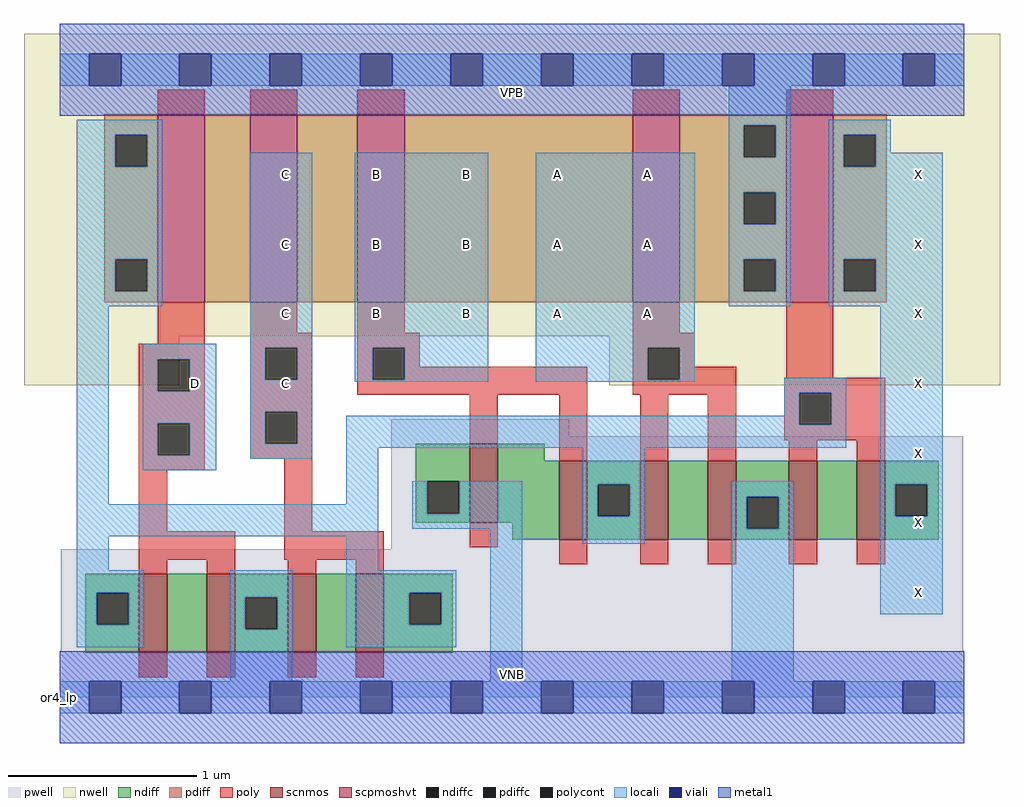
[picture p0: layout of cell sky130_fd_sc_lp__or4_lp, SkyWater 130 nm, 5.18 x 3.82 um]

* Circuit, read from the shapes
.subckt sky130_fd_sc_lp__or4_lp A B C D VGND VNB VPB VPWR X
XM1 n1 D n2 VNB sky130_fd_pr__nfet_01v8 w=0.42 l=0.15
XM2 VGND D n1 VNB sky130_fd_pr__nfet_01v8 w=0.42 l=0.15
XM3 n3 C VGND VNB sky130_fd_pr__nfet_01v8 w=0.42 l=0.15
XM4 n2 C n3 VNB sky130_fd_pr__nfet_01v8 w=0.42 l=0.15
XM5 n4 B VGND VNB sky130_fd_pr__nfet_01v8 w=0.42 l=0.15
XM6 n2 B n4 VNB sky130_fd_pr__nfet_01v8 w=0.42 l=0.15
XM7 n5 A n2 VNB sky130_fd_pr__nfet_01v8 w=0.42 l=0.15
XM8 VGND A n5 VNB sky130_fd_pr__nfet_01v8 w=0.42 l=0.15
XM9 n6 n2 VGND VNB sky130_fd_pr__nfet_01v8 w=0.42 l=0.15
XM10 X n2 n6 VNB sky130_fd_pr__nfet_01v8 w=0.42 l=0.15
XM11 n7 D n2 VPB sky130_fd_pr__pfet_01v8_hvt w=1 l=0.25
XM12 n8 C n7 VPB sky130_fd_pr__pfet_01v8_hvt w=1 l=0.25
XM13 n9 B n8 VPB sky130_fd_pr__pfet_01v8_hvt w=1 l=0.25
XM14 VPWR A n9 VPB sky130_fd_pr__pfet_01v8_hvt w=1 l=0.25
XM15 X n2 VPWR VPB sky130_fd_pr__pfet_01v8_hvt w=1 l=0.25
.ends

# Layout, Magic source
magic
tech sky130A
magscale 1 2
<< nwell >>
rect -38 383 998 704
rect -38 331 127 383
rect 583 331 998 383
<< pwell >>
rect 352 277 541 295
rect 352 157 959 277
rect 1 49 959 157
rect 0 0 960 49
<< scnmos >>
rect 435 185 465 269
rect 530 167 560 251
rect 616 167 646 251
rect 688 167 718 251
rect 774 167 804 251
rect 846 167 876 251
rect 84 47 114 131
rect 156 47 186 131
rect 242 47 272 131
rect 314 47 344 131
<< scpmoshvt >>
rect 104 419 154 619
rect 202 419 252 619
rect 316 419 366 619
rect 608 419 658 619
rect 771 419 821 619
<< ndiff >>
rect 378 229 435 269
rect 378 195 390 229
rect 424 195 435 229
rect 378 185 435 195
rect 465 251 515 269
rect 465 185 530 251
rect 480 167 530 185
rect 560 226 616 251
rect 560 192 571 226
rect 605 192 616 226
rect 560 167 616 192
rect 646 167 688 251
rect 718 213 774 251
rect 718 179 729 213
rect 763 179 774 213
rect 718 167 774 179
rect 804 167 846 251
rect 876 226 933 251
rect 876 192 887 226
rect 921 192 933 226
rect 876 167 933 192
rect 27 111 84 131
rect 27 77 39 111
rect 73 77 84 111
rect 27 47 84 77
rect 114 47 156 131
rect 186 106 242 131
rect 186 72 197 106
rect 231 72 242 106
rect 186 47 242 72
rect 272 47 314 131
rect 344 111 417 131
rect 344 77 371 111
rect 405 77 417 111
rect 344 47 417 77
<< pdiff >>
rect 47 597 104 619
rect 47 563 59 597
rect 93 563 104 597
rect 47 465 104 563
rect 47 431 59 465
rect 93 431 104 465
rect 47 419 104 431
rect 154 419 202 619
rect 252 419 316 619
rect 366 419 608 619
rect 658 607 771 619
rect 658 573 726 607
rect 760 573 771 607
rect 658 536 771 573
rect 658 502 726 536
rect 760 502 771 536
rect 658 465 771 502
rect 658 431 726 465
rect 760 431 771 465
rect 658 419 771 431
rect 821 597 878 619
rect 821 563 832 597
rect 866 563 878 597
rect 821 465 878 563
rect 821 431 832 465
rect 866 431 878 465
rect 821 419 878 431
<< ndiffc >>
rect 390 195 424 229
rect 571 192 605 226
rect 729 179 763 213
rect 887 192 921 226
rect 39 77 73 111
rect 197 72 231 106
rect 371 77 405 111
<< pdiffc >>
rect 59 563 93 597
rect 59 431 93 465
rect 726 573 760 607
rect 726 502 760 536
rect 726 431 760 465
rect 832 563 866 597
rect 832 431 866 465
<< poly >>
rect 104 619 154 645
rect 202 619 252 645
rect 316 619 366 645
rect 608 619 658 645
rect 771 619 821 645
rect 104 375 154 419
rect 84 359 154 375
rect 84 325 104 359
rect 138 325 154 359
rect 84 291 154 325
rect 84 257 104 291
rect 138 257 154 291
rect 84 241 154 257
rect 202 387 252 419
rect 316 387 366 419
rect 608 387 658 419
rect 202 371 268 387
rect 202 337 218 371
rect 252 337 268 371
rect 202 303 268 337
rect 316 371 382 387
rect 316 337 332 371
rect 366 351 382 371
rect 608 371 674 387
rect 366 337 560 351
rect 316 321 560 337
rect 608 337 624 371
rect 658 351 674 371
rect 658 337 718 351
rect 771 339 821 419
rect 608 321 718 337
rect 202 269 218 303
rect 252 269 268 303
rect 435 269 465 321
rect 202 253 268 269
rect 84 176 114 241
rect 238 176 268 253
rect 530 251 560 321
rect 616 251 646 321
rect 688 251 718 321
rect 769 323 876 339
rect 769 289 785 323
rect 819 289 876 323
rect 769 273 876 289
rect 774 251 804 273
rect 846 251 876 273
rect 84 146 186 176
rect 238 146 344 176
rect 435 159 465 185
rect 84 131 114 146
rect 156 131 186 146
rect 242 131 272 146
rect 314 131 344 146
rect 530 141 560 167
rect 616 141 646 167
rect 688 141 718 167
rect 774 141 804 167
rect 846 141 876 167
rect 84 21 114 47
rect 156 21 186 47
rect 242 21 272 47
rect 314 21 344 47
<< polycont >>
rect 104 325 138 359
rect 104 257 138 291
rect 218 337 252 371
rect 332 337 366 371
rect 624 337 658 371
rect 218 269 252 303
rect 785 289 819 323
<< locali >>
rect 0 649 31 683
rect 65 649 127 683
rect 161 649 223 683
rect 257 649 319 683
rect 353 649 415 683
rect 449 649 511 683
rect 545 649 607 683
rect 641 649 703 683
rect 737 649 799 683
rect 833 649 895 683
rect 929 649 960 683
rect 18 597 109 613
rect 18 563 59 597
rect 93 563 109 597
rect 710 607 776 649
rect 18 465 109 563
rect 18 431 59 465
rect 93 431 109 465
rect 18 415 109 431
rect 18 205 52 415
rect 88 359 166 375
rect 88 325 104 359
rect 138 325 166 359
rect 88 291 166 325
rect 88 257 104 291
rect 138 257 166 291
rect 88 241 166 257
rect 202 371 268 578
rect 202 337 218 371
rect 252 337 268 371
rect 202 303 268 337
rect 313 371 455 578
rect 313 337 332 371
rect 366 337 455 371
rect 313 335 455 337
rect 505 371 674 578
rect 710 573 726 607
rect 760 573 776 607
rect 710 536 776 573
rect 710 502 726 536
rect 760 502 776 536
rect 710 465 776 502
rect 710 431 726 465
rect 760 431 776 465
rect 710 415 776 431
rect 816 597 882 613
rect 816 563 832 597
rect 866 578 882 597
rect 866 563 937 578
rect 816 465 937 563
rect 816 431 832 465
rect 866 431 937 465
rect 816 415 937 431
rect 505 337 624 371
rect 658 337 674 371
rect 505 335 674 337
rect 202 269 218 303
rect 252 269 268 303
rect 769 323 835 339
rect 769 299 785 323
rect 202 253 268 269
rect 304 289 785 299
rect 819 289 835 323
rect 304 265 835 289
rect 304 205 338 265
rect 18 171 338 205
rect 374 195 390 229
rect 424 195 491 229
rect 374 179 491 195
rect 18 135 52 171
rect 304 135 338 171
rect 18 111 89 135
rect 18 77 39 111
rect 73 77 89 111
rect 18 53 89 77
rect 181 106 247 135
rect 181 72 197 106
rect 231 72 247 106
rect 181 17 247 72
rect 304 111 421 135
rect 304 77 371 111
rect 405 77 421 111
rect 304 53 421 77
rect 457 17 491 179
rect 555 226 621 265
rect 555 192 571 226
rect 605 192 621 226
rect 555 163 621 192
rect 713 213 779 229
rect 713 179 729 213
rect 763 179 779 213
rect 713 17 779 179
rect 871 226 937 415
rect 871 192 887 226
rect 921 192 937 226
rect 871 88 937 192
rect 0 -17 31 17
rect 65 -17 127 17
rect 161 -17 223 17
rect 257 -17 319 17
rect 353 -17 415 17
rect 449 -17 511 17
rect 545 -17 607 17
rect 641 -17 703 17
rect 737 -17 799 17
rect 833 -17 895 17
rect 929 -17 960 17
<< viali >>
rect 31 649 65 683
rect 127 649 161 683
rect 223 649 257 683
rect 319 649 353 683
rect 415 649 449 683
rect 511 649 545 683
rect 607 649 641 683
rect 703 649 737 683
rect 799 649 833 683
rect 895 649 929 683
rect 31 -17 65 17
rect 127 -17 161 17
rect 223 -17 257 17
rect 319 -17 353 17
rect 415 -17 449 17
rect 511 -17 545 17
rect 607 -17 641 17
rect 703 -17 737 17
rect 799 -17 833 17
rect 895 -17 929 17
<< metal1 >>
rect 0 683 960 715
rect 0 649 31 683
rect 65 649 127 683
rect 161 649 223 683
rect 257 649 319 683
rect 353 649 415 683
rect 449 649 511 683
rect 545 649 607 683
rect 641 649 703 683
rect 737 649 799 683
rect 833 649 895 683
rect 929 649 960 683
rect 0 617 960 649
rect 0 17 960 49
rect 0 -17 31 17
rect 65 -17 127 17
rect 161 -17 223 17
rect 257 -17 319 17
rect 353 -17 415 17
rect 449 -17 511 17
rect 545 -17 607 17
rect 641 -17 703 17
rect 737 -17 799 17
rect 833 -17 895 17
rect 929 -17 960 17
rect 0 -49 960 -17
<< labels >>
flabel pwell s 0 0 960 49 0 FreeSans 200 0 0 0 VNB
port 6 nsew ground bidirectional
flabel nwell s 0 617 960 666 0 FreeSans 200 0 0 0 VPB
port 7 nsew power bidirectional
rlabel comment s 0 0 0 0 4 or4_lp
flabel metal1 s 0 617 960 666 0 FreeSans 340 0 0 0 VPWR
port 8 nsew power bidirectional
flabel metal1 s 0 0 960 49 0 FreeSans 340 0 0 0 VGND
port 5 nsew ground bidirectional
flabel locali s 127 316 161 350 0 FreeSans 340 0 0 0 D
port 4 nsew signal input
flabel locali s 223 316 257 350 0 FreeSans 340 0 0 0 C
port 3 nsew signal input
flabel locali s 223 390 257 424 0 FreeSans 340 0 0 0 C
port 3 nsew signal input
flabel locali s 223 464 257 498 0 FreeSans 340 0 0 0 C
port 3 nsew signal input
flabel locali s 223 538 257 572 0 FreeSans 340 0 0 0 C
port 3 nsew signal input
flabel locali s 319 390 353 424 0 FreeSans 340 0 0 0 B
port 2 nsew signal input
flabel locali s 319 464 353 498 0 FreeSans 340 0 0 0 B
port 2 nsew signal input
flabel locali s 319 538 353 572 0 FreeSans 340 0 0 0 B
port 2 nsew signal input
flabel locali s 415 390 449 424 0 FreeSans 340 0 0 0 B
port 2 nsew signal input
flabel locali s 415 464 449 498 0 FreeSans 340 0 0 0 B
port 2 nsew signal input
flabel locali s 415 538 449 572 0 FreeSans 340 0 0 0 B
port 2 nsew signal input
flabel locali s 511 390 545 424 0 FreeSans 340 0 0 0 A
port 1 nsew signal input
flabel locali s 511 464 545 498 0 FreeSans 340 0 0 0 A
port 1 nsew signal input
flabel locali s 511 538 545 572 0 FreeSans 340 0 0 0 A
port 1 nsew signal input
flabel locali s 607 390 641 424 0 FreeSans 340 0 0 0 A
port 1 nsew signal input
flabel locali s 607 464 641 498 0 FreeSans 340 0 0 0 A
port 1 nsew signal input
flabel locali s 607 538 641 572 0 FreeSans 340 0 0 0 A
port 1 nsew signal input
flabel locali s 895 94 929 128 0 FreeSans 340 0 0 0 X
port 9 nsew signal output
flabel locali s 895 168 929 202 0 FreeSans 340 0 0 0 X
port 9 nsew signal output
flabel locali s 895 242 929 276 0 FreeSans 340 0 0 0 X
port 9 nsew signal output
flabel locali s 895 316 929 350 0 FreeSans 340 0 0 0 X
port 9 nsew signal output
flabel locali s 895 390 929 424 0 FreeSans 340 0 0 0 X
port 9 nsew signal output
flabel locali s 895 464 929 498 0 FreeSans 340 0 0 0 X
port 9 nsew signal output
flabel locali s 895 538 929 572 0 FreeSans 340 0 0 0 X
port 9 nsew signal output
<< properties >>
string LEFsite unit
string LEFclass CORE
string FIXED_BBOX 0 0 960 666
string GDS_FILE $PDKPATH/libs.ref/sky130_fd_sc_lp/gds/sky130_fd_sc_lp.gds
string LEFsymmetry X Y R90
string GDS_END 304982
string GDS_START 295994
<< end >>
